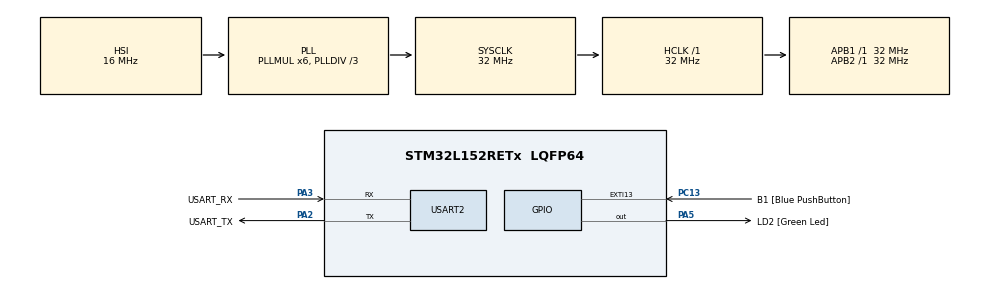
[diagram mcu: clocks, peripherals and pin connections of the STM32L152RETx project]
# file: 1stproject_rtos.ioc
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FREERTOS.Tasks01=defaultTask,0,128,StartDefaultTask,Default,NULL,Dynamic,NULL,NULL
Mcu.Family=STM32L1
Mcu.Name=STM32L152RETx
Mcu.Package=LQFP64
NVIC.PriorityGroup=NVIC_PRIORITYGROUP_4
NVIC.TIM6_IRQn=true\:15\:0\:false\:false\:true\:false\:false\:true\:true
NVIC.TimeBase=TIM6_IRQn
NVIC.TimeBaseIP=TIM6
PA13.GPIO_Label=TMS
PA13.Mode=Serial_Wire
PA13.Signal=SYS_JTMS-SWDIO
PA14.GPIO_Label=TCK
PA14.Mode=Serial_Wire
PA14.Signal=SYS_JTCK-SWCLK
PA2.GPIO_Label=USART_TX
PA2.Mode=Asynchronous
PA2.Signal=USART2_TX
PA3.GPIO_Label=USART_RX
PA3.Mode=Asynchronous
PA3.Signal=USART2_RX
PA5.GPIO_Label=LD2 [Green Led]
PA5.Signal=GPIO_Output
PB3.GPIO_Label=SWO
PB3.Signal=SYS_JTDO-TRACESWO
PC13-WKUP2.GPIO_Label=B1 [Blue PushButton]
PC13-WKUP2.Signal=GPXTI13
PC14-OSC32_IN.Mode=LSE-External-Oscillator
PC14-OSC32_IN.Signal=RCC_OSC32_IN
PC15-OSC32_OUT.Mode=LSE-External-Oscillator
PC15-OSC32_OUT.Signal=RCC_OSC32_OUT
PH0-OSC_IN.Mode=HSE-External-Clock-Source
PH0-OSC_IN.Signal=RCC_OSC_IN
PH1-OSC_OUT.Signal=RCC_OSC_OUT
ProjectManager.HeapSize=0x200
ProjectManager.StackSize=0x400
ProjectManager.TargetToolchain=STM32CubeIDE
RCC.48MHZClocksFreq_Value=48000000
RCC.AHBFreq_Value=32000000
RCC.APB1Freq_Value=32000000
RCC.APB1TimFreq_Value=32000000
RCC.APB2Freq_Value=32000000
RCC.APB2TimFreq_Value=32000000
RCC.HCLKFreq_Value=32000000
RCC.HSE_VALUE=8000000
RCC.HSI_VALUE=16000000
RCC.MSI_VALUE=2097000
RCC.PLLDIV=RCC_PLL_DIV3
RCC.PLLMUL=RCC_PLL_MUL6
RCC.RTCClockSelectionVirtual=RCC_RTCCLKSOURCE_LSE
RCC.SYSCLKFreq_VALUE=32000000
RCC.SYSCLKSource=RCC_SYSCLKSOURCE_PLLCLK
RCC.USBOutput=48000000
RCC.VCOOutputFreq_Value=96000000
USART2.VirtualMode=VM_ASYNC
VP_FREERTOS_VS_CMSIS_V1.Mode=CMSIS_V1
VP_SYS_VS_tim6.Mode=TIM6
board=NUCLEO-L152RE

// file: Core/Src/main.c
/* USER CODE BEGIN Header */
/**
  ******************************************************************************
  * @file           : main.c
  * @brief          : Main program body
  ******************************************************************************
  * @attention
  *
  * <h2><center>&copy; Copyright (c) 2026 STMicroelectronics.
  * All rights reserved.</center></h2>
  *
  * This software component is licensed by ST under BSD 3-Clause license,
  * the "License"; You may not use this file except in compliance with the
  * License. You may obtain a copy of the License at:
  *                        opensource.org/licenses/BSD-3-Clause
  *
  ******************************************************************************
  */
/* USER CODE END Header */
#include "main.h"

/* USER CODE BEGIN Includes */
#include "stdio.h"
#include "freertos.h"
#include "task.h"

/* USER CODE END Includes */

UART_HandleTypeDef huart2;

/* USER CODE BEGIN PV */
TaskHandle_t myTask1Handle = NULL;
uint8_t LED_One = 0;
int compteur = 0;

/* USER CODE END PV */

void SystemClock_Config(void);
static void MX_GPIO_Init(void);
static void MX_USART2_UART_Init(void);

/* USER CODE BEGIN PFP */
void myTask1(void *);

/* USER CODE END PFP */

/* USER CODE BEGIN 0 */
void myTask1(void *p) {
	while (1) {
		printf("rentre dans task1: %d\r\n", compteur++);
		HAL_Delay(500);
		LED_One ^= 0x1;
	}
}
/* USER CODE END 0 */

int main(void)
{

  /* MCU Configuration--------------------------------------------------------*/

  /* Reset of all peripherals, Initializes the Flash interface and the Systick. */
  HAL_Init();

  /* Configure the system clock */
  SystemClock_Config();

  /* Initialize all configured peripherals */
  MX_GPIO_Init();
  MX_USART2_UART_Init();

  /* Create the thread(s) */
  /* definition and creation of task1 */

  /* USER CODE BEGIN RTOS_THREADS */
  /* add threads, ... */
  xTaskCreate(myTask1, "task1", 200, (void *) NULL, 0, &myTask1Handle);

  /* USER CODE END RTOS_THREADS */

  /* Start scheduler */
  vTaskStartScheduler();

  /* We should never get here as control is now taken by the scheduler */
  /* Infinite loop */
  while (1)
  {

  }
}

void SystemClock_Config(void)
{
  RCC_OscInitTypeDef RCC_OscInitStruct = {0};
  RCC_ClkInitTypeDef RCC_ClkInitStruct = {0};

  /** Configure the main internal regulator output voltage
  */
  __HAL_PWR_VOLTAGESCALING_CONFIG(PWR_REGULATOR_VOLTAGE_SCALE1);
  /** Initializes the RCC Oscillators according to the specified parameters
  * in the RCC_OscInitTypeDef structure.
  */
  RCC_OscInitStruct.OscillatorType = RCC_OSCILLATORTYPE_HSI;
  RCC_OscInitStruct.HSIState = RCC_HSI_ON;
  RCC_OscInitStruct.HSICalibrationValue = RCC_HSICALIBRATION_DEFAULT;
  RCC_OscInitStruct.PLL.PLLState = RCC_PLL_ON;
  RCC_OscInitStruct.PLL.PLLSource = RCC_PLLSOURCE_HSI;
  RCC_OscInitStruct.PLL.PLLMUL = RCC_PLL_MUL6;
  RCC_OscInitStruct.PLL.PLLDIV = RCC_PLL_DIV3;
  if (HAL_RCC_OscConfig(&RCC_OscInitStruct) != HAL_OK)
  {
    Error_Handler();
  }
  /** Initializes the CPU, AHB and APB buses clocks
  */
  RCC_ClkInitStruct.ClockType = RCC_CLOCKTYPE_HCLK|RCC_CLOCKTYPE_SYSCLK
                              |RCC_CLOCKTYPE_PCLK1|RCC_CLOCKTYPE_PCLK2;
  RCC_ClkInitStruct.SYSCLKSource = RCC_SYSCLKSOURCE_PLLCLK;
  RCC_ClkInitStruct.AHBCLKDivider = RCC_SYSCLK_DIV1;
  RCC_ClkInitStruct.APB1CLKDivider = RCC_HCLK_DIV1;
  RCC_ClkInitStruct.APB2CLKDivider = RCC_HCLK_DIV1;

  if (HAL_RCC_ClockConfig(&RCC_ClkInitStruct, FLASH_LATENCY_1) != HAL_OK)
  {
    Error_Handler();
  }
}

static void MX_USART2_UART_Init(void)
{

  huart2.Instance = USART2;
  huart2.Init.BaudRate = 115200;
  huart2.Init.WordLength = UART_WORDLENGTH_8B;
  huart2.Init.StopBits = UART_STOPBITS_1;
  huart2.Init.Parity = UART_PARITY_NONE;
  huart2.Init.Mode = UART_MODE_TX_RX;
  huart2.Init.HwFlowCtl = UART_HWCONTROL_NONE;
  huart2.Init.OverSampling = UART_OVERSAMPLING_16;
  if (HAL_UART_Init(&huart2) != HAL_OK)
  {
    Error_Handler();
  }

}

static void MX_GPIO_Init(void)
{
  GPIO_InitTypeDef GPIO_InitStruct = {0};

  /* GPIO Ports Clock Enable */
  __HAL_RCC_GPIOC_CLK_ENABLE();
  __HAL_RCC_GPIOH_CLK_ENABLE();
  __HAL_RCC_GPIOA_CLK_ENABLE();
  __HAL_RCC_GPIOB_CLK_ENABLE();

  /*Configure GPIO pin Output Level */
  HAL_GPIO_WritePin(LD2_GPIO_Port, LD2_Pin, GPIO_PIN_RESET);

  /*Configure GPIO pin : B1_Pin */
  GPIO_InitStruct.Pin = B1_Pin;
  GPIO_InitStruct.Mode = GPIO_MODE_IT_RISING;
  GPIO_InitStruct.Pull = GPIO_NOPULL;
  HAL_GPIO_Init(B1_GPIO_Port, &GPIO_InitStruct);

  /*Configure GPIO pin : LD2_Pin */
  GPIO_InitStruct.Pin = LD2_Pin;
  GPIO_InitStruct.Mode = GPIO_MODE_OUTPUT_PP;
  GPIO_InitStruct.Pull = GPIO_NOPULL;
  GPIO_InitStruct.Speed = GPIO_SPEED_FREQ_LOW;
  HAL_GPIO_Init(LD2_GPIO_Port, &GPIO_InitStruct);

}

/* USER CODE BEGIN 4 */
int _write(int file, char *ptr, int len) {
	(void)file;
	int DataIdx;

	for (DataIdx = 0; DataIdx < len; DataIdx++) {
		ITM_SendChar (*ptr++);
	}

	return len;
}

/* USER CODE END 4 */

void HAL_TIM_PeriodElapsedCallback(TIM_HandleTypeDef *htim)
{
  if (htim->Instance == TIM6) {
    HAL_IncTick();
  }
}

void Error_Handler(void)
{
  __disable_irq();
  while (1)
  {
  }
}

/************************ (C) COPYRIGHT STMicroelectronics *****END OF FILE****/
